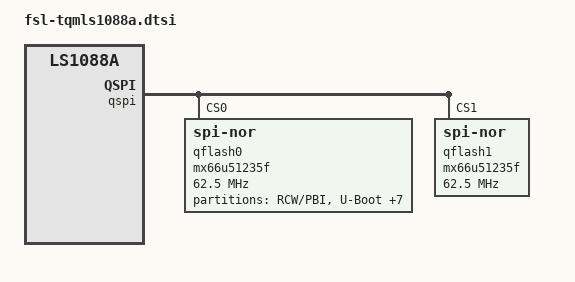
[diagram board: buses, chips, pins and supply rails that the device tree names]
// SPDX-License-Identifier: (GPL-2.0+ OR MIT)
/*
 * Device Tree Include file for LS1046A based SoM of TQ
 *
 * Copyright 2019 TQ-Systems GmbH
 */

#include "fsl-ls1088a.dtsi"
#include "fsl-tqmls10xxa.dtsi"

&qspi {
	num-cs = <2>;
	bus-num = <0>;
	status = "okay";
	fsl,qspi-has-second-chip;

	qflash0: mx66u51235f@0 {
		#address-cells = <1>;
		#size-cells = <1>;
		compatible = "jedec,spi-nor";
		spi-max-frequency = <62500000>;
		reg = <0>;

		partitions {
			compatible = "fixed-partitions";
			#address-cells = <1>;
			#size-cells = <1>;

			rcwpbi@0 {
				label = "RCW/PBI";
				reg = <0x0 0x10000>;
			};

			uboot@10000 {
				label = "U-Boot";
				reg = <0x10000 0xc0000>;
			};

			env@d0000 {
				label = "U-Boot Environment";
				reg = <0xd0000 0x10000>;
			};

			dpaadpl@e0000 {
				label = "DPAA2 DPL";
				reg = <0xe0000 0x10000>;
			};

			dpaadpc@f0000 {
				label = "DPAA2 DPC";
				reg = <0xf0000 0x10000>;
			};

			mcfw@100000 {
				label = "DPAA2 MC Firmware";
				reg = <0x100000 0x1f0000>;
			};

			dtb@2f0000 {
				label = "DTB";
				reg = <0x2f0000 0x10000>;
			};

			linux@300000 {
				label = "Linux";
				reg = <0x300000 0x1500000>;
			};

			rootfs@1800000 {
				label = "RootFS";
				reg = <0x1800000 0x2800000>;
			};
		};
	};

	qflash1: mx66u51235f@1 {
		#address-cells = <1>;
		#size-cells = <1>;
		compatible = "jedec,spi-nor";
		spi-max-frequency = <62500000>;
		reg = <1>;
	};
};

